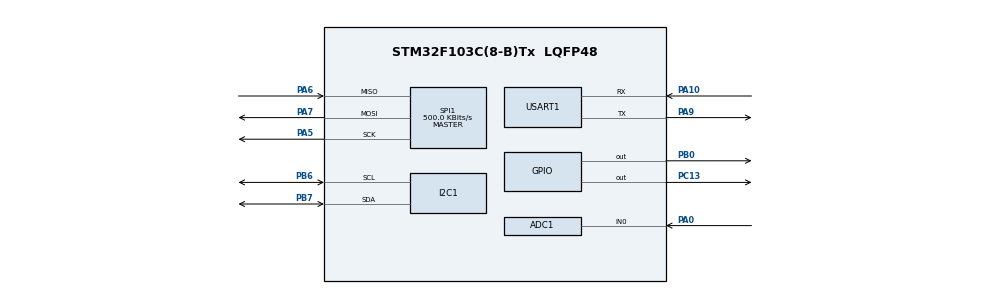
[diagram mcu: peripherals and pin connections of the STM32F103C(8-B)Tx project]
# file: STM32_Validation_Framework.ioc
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ADC1.Channel-0\#ChannelRegularConversion=ADC_CHANNEL_0
ADC1.NbrOfConversionFlag=1
ADC1.Rank-0\#ChannelRegularConversion=1
ADC1.SamplingTime-0\#ChannelRegularConversion=ADC_SAMPLETIME_1CYCLE_5
ADC1.master=1
Mcu.Family=STM32F1
Mcu.Name=STM32F103C(8-B)Tx
Mcu.Package=LQFP48
NVIC.PriorityGroup=NVIC_PRIORITYGROUP_4
PA0-WKUP.Signal=ADCx_IN0
PA10.Mode=Asynchronous
PA10.Signal=USART1_RX
PA5.Mode=Full_Duplex_Master
PA5.Signal=SPI1_SCK
PA6.Mode=Full_Duplex_Master
PA6.Signal=SPI1_MISO
PA7.Mode=Full_Duplex_Master
PA7.Signal=SPI1_MOSI
PA9.Mode=Asynchronous
PA9.Signal=USART1_TX
PB0.PinState=GPIO_PIN_SET
PB0.Signal=GPIO_Output
PB6.Mode=I2C
PB6.Signal=I2C1_SCL
PB7.Mode=I2C
PB7.Signal=I2C1_SDA
PC13-TAMPER-RTC.Signal=GPIO_Output
PD0-OSC_IN.Mode=HSE-External-Oscillator
PD0-OSC_IN.Signal=RCC_OSC_IN
PD1-OSC_OUT.Mode=HSE-External-Oscillator
PD1-OSC_OUT.Signal=RCC_OSC_OUT
ProjectManager.HeapSize=0x200
ProjectManager.StackSize=0x400
ProjectManager.TargetToolchain=STM32CubeIDE
RCC.APB1Freq_Value=8000000
RCC.APB2Freq_Value=8000000
SH.ADCx_IN0.0=ADC1_IN0,IN0
SPI1.BaudRatePrescaler=SPI_BAUDRATEPRESCALER_16
SPI1.CalculateBaudRate=500.0 KBits/s
SPI1.Direction=SPI_DIRECTION_2LINES
SPI1.Mode=SPI_MODE_MASTER
SPI1.VirtualType=VM_MASTER
USART1.VirtualMode=VM_ASYNC
VP_SYS_VS_ND.Mode=No_Debug
board=custom

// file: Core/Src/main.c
/* USER CODE BEGIN Header */
/**
  ******************************************************************************
  * @file           : main.c
  * @brief          : Main program body
  ******************************************************************************
  * @attention
  *
  * Copyright (c) 2026 STMicroelectronics.
  * All rights reserved.
  *
  * This software is licensed under terms that can be found in the LICENSE file
  * in the root directory of this software component.
  * If no LICENSE file comes with this software, it is provided AS-IS.
  *
  ******************************************************************************
  */
/* USER CODE END Header */
#include "main.h"

/* USER CODE BEGIN Includes */
#include <string.h>
#include <stdio.h>
/* USER CODE END Includes */

/* USER CODE BEGIN PD */
#define ADXL345_CS_GPIO_Port GPIOB
#define ADXL345_CS_Pin       GPIO_PIN_0
#define ADXL345_DEVICE_ID    0xE5
/* USER CODE END PD */

ADC_HandleTypeDef hadc1;

I2C_HandleTypeDef hi2c1;

SPI_HandleTypeDef hspi1;

UART_HandleTypeDef huart1;

/* USER CODE BEGIN PV */

static uint8_t uart_rx_buffer[32];
static uint8_t uart_rx_byte;
static uint8_t uart_rx_index = 0;

/* USER CODE END PV */

void SystemClock_Config(void);
static void MX_GPIO_Init(void);
static void MX_USART1_UART_Init(void);
static void MX_ADC1_Init(void);
static void MX_I2C1_Init(void);
static void MX_SPI1_Init(void);
/* USER CODE BEGIN PFP */

static void UART_SendString(const char *str);
static void Process_Command(char *command);
static void Test_UART(void);
static void Test_GPIO(void);
static void Test_ADC(void);
static void Test_I2C(void);
static void Test_SPI(void);

/* USER CODE END PFP */

/* USER CODE BEGIN 0 */

static void UART_SendString(const char *str)
{
    HAL_UART_Transmit(&huart1,
                      (uint8_t *)str,
                      strlen(str),
                      HAL_MAX_DELAY);
}

static void Test_UART(void)
{
    UART_SendString("[TEST:UART][RESULT:PASS]\r\n");
}

static void Test_GPIO(void)
{
    HAL_GPIO_TogglePin(GPIOC, GPIO_PIN_13);

    UART_SendString("[TEST:GPIO][RESULT:PASS]\r\n");
}

static void Process_Command(char *command)
{
    if (strcmp(command, "HELP") == 0)
    {
        UART_SendString("\r\n");
        UART_SendString("STM32 VALIDATION FRAMEWORK\r\n");
        UART_SendString("Commands:\r\n");
        UART_SendString("HELP\r\n");
        UART_SendString("TEST UART\r\n");
        UART_SendString("TEST GPIO\r\n");
        UART_SendString("TEST ADC\r\n");
        UART_SendString("TEST I2C\r\n");
        UART_SendString("TEST SPI\r\n");
        UART_SendString("TEST ALL\r\n");
        UART_SendString("\r\n");
    }
    else if (strcmp(command, "TEST UART") == 0)
    {
        Test_UART();
    }
    else if (strcmp(command, "TEST GPIO") == 0)
    {
        Test_GPIO();
    }
    else if (strcmp(command, "TEST ADC") == 0)
    {
        Test_ADC();
    }
    else if (strcmp(command, "TEST I2C") == 0)
    {
        Test_I2C();
    }
    else if (strcmp(command, "TEST SPI") == 0)
    {
        Test_SPI();
    }
    else if (strcmp(command, "TEST ALL") == 0)
    {
        Test_UART();
        Test_GPIO();
        Test_ADC();
        Test_I2C();
        Test_SPI();

        UART_SendString("[TEST:ALL][RESULT:PASS]\r\n");
    }
    else
    {
        UART_SendString("[ERROR][UNKNOWN_COMMAND]\r\n");
    }
}

/* USER CODE END 0 */

int main(void)
{

  /* MCU Configuration--------------------------------------------------------*/

  /* Reset of all peripherals, Initializes the Flash interface and the Systick. */
  HAL_Init();

  /* Configure the system clock */
  SystemClock_Config();

  /* Initialize all configured peripherals */
  MX_GPIO_Init();
  MX_USART1_UART_Init();
  MX_ADC1_Init();
  MX_I2C1_Init();
  MX_SPI1_Init();
  /* USER CODE BEGIN 2 */

  UART_SendString("\r\n====================================\r\n");
  UART_SendString("STM32 VALIDATION FRAMEWORK\r\n");
  UART_SendString("Firmware Core v0.3\r\n");
  UART_SendString("UART: 115200 8-N-1\r\n");
  UART_SendString("ADC: 12-bit / PA0\r\n");
  UART_SendString("Type HELP for commands\r\n");
  UART_SendString("====================================\r\n\r\n");

  /* USER CODE END 2 */

  /* Infinite loop */
  while (1)
  {

    /* USER CODE BEGIN 3 */

      if (HAL_UART_Receive(&huart1,
                           &uart_rx_byte,
                           1,
                           HAL_MAX_DELAY) == HAL_OK)
      {
          if (uart_rx_byte == '\r' || uart_rx_byte == '\n')
          {
              if (uart_rx_index > 0)
              {
                  uart_rx_buffer[uart_rx_index] = '\0';

                  Process_Command((char *)uart_rx_buffer);

                  uart_rx_index = 0;
                  memset(uart_rx_buffer, 0, sizeof(uart_rx_buffer));
              }
          }
          else
          {
              if (uart_rx_index < sizeof(uart_rx_buffer) - 1)
              {
                  uart_rx_buffer[uart_rx_index++] = uart_rx_byte;
              }
              else
              {
                  uart_rx_index = 0;
                  memset(uart_rx_buffer, 0, sizeof(uart_rx_buffer));

                  UART_SendString("[ERROR][COMMAND_TOO_LONG]\r\n");
              }
          }
      }
  }
  /* USER CODE END 3 */
}

void SystemClock_Config(void)
{
  RCC_OscInitTypeDef RCC_OscInitStruct = {0};
  RCC_ClkInitTypeDef RCC_ClkInitStruct = {0};
  RCC_PeriphCLKInitTypeDef PeriphClkInit = {0};

  /** Initializes the RCC Oscillators according to the specified parameters
  * in the RCC_OscInitTypeDef structure.
  */
  RCC_OscInitStruct.OscillatorType = RCC_OSCILLATORTYPE_HSI;
  RCC_OscInitStruct.HSIState = RCC_HSI_ON;
  RCC_OscInitStruct.HSICalibrationValue = RCC_HSICALIBRATION_DEFAULT;
  RCC_OscInitStruct.PLL.PLLState = RCC_PLL_NONE;
  if (HAL_RCC_OscConfig(&RCC_OscInitStruct) != HAL_OK)
  {
    Error_Handler();
  }

  /** Initializes the CPU, AHB and APB buses clocks
  */
  RCC_ClkInitStruct.ClockType = RCC_CLOCKTYPE_HCLK|RCC_CLOCKTYPE_SYSCLK
                              |RCC_CLOCKTYPE_PCLK1|RCC_CLOCKTYPE_PCLK2;
  RCC_ClkInitStruct.SYSCLKSource = RCC_SYSCLKSOURCE_HSI;
  RCC_ClkInitStruct.AHBCLKDivider = RCC_SYSCLK_DIV1;
  RCC_ClkInitStruct.APB1CLKDivider = RCC_HCLK_DIV1;
  RCC_ClkInitStruct.APB2CLKDivider = RCC_HCLK_DIV1;

  if (HAL_RCC_ClockConfig(&RCC_ClkInitStruct, FLASH_LATENCY_0) != HAL_OK)
  {
    Error_Handler();
  }
  PeriphClkInit.PeriphClockSelection = RCC_PERIPHCLK_ADC;
  PeriphClkInit.AdcClockSelection = RCC_ADCPCLK2_DIV2;
  if (HAL_RCCEx_PeriphCLKConfig(&PeriphClkInit) != HAL_OK)
  {
    Error_Handler();
  }
}

static void MX_ADC1_Init(void)
{

  ADC_ChannelConfTypeDef sConfig = {0};

  /** Common config
  */
  hadc1.Instance = ADC1;
  hadc1.Init.ScanConvMode = ADC_SCAN_DISABLE;
  hadc1.Init.ContinuousConvMode = DISABLE;
  hadc1.Init.DiscontinuousConvMode = DISABLE;
  hadc1.Init.ExternalTrigConv = ADC_SOFTWARE_START;
  hadc1.Init.DataAlign = ADC_DATAALIGN_RIGHT;
  hadc1.Init.NbrOfConversion = 1;
  if (HAL_ADC_Init(&hadc1) != HAL_OK)
  {
    Error_Handler();
  }

  /** Configure Regular Channel
  */
  sConfig.Channel = ADC_CHANNEL_0;
  sConfig.Rank = ADC_REGULAR_RANK_1;
  sConfig.SamplingTime = ADC_SAMPLETIME_1CYCLE_5;
  if (HAL_ADC_ConfigChannel(&hadc1, &sConfig) != HAL_OK)
  {
    Error_Handler();
  }

}

static void MX_I2C1_Init(void)
{

  hi2c1.Instance = I2C1;
  hi2c1.Init.ClockSpeed = 100000;
  hi2c1.Init.DutyCycle = I2C_DUTYCYCLE_2;
  hi2c1.Init.OwnAddress1 = 0;
  hi2c1.Init.AddressingMode = I2C_ADDRESSINGMODE_7BIT;
  hi2c1.Init.DualAddressMode = I2C_DUALADDRESS_DISABLE;
  hi2c1.Init.OwnAddress2 = 0;
  hi2c1.Init.GeneralCallMode = I2C_GENERALCALL_DISABLE;
  hi2c1.Init.NoStretchMode = I2C_NOSTRETCH_DISABLE;
  if (HAL_I2C_Init(&hi2c1) != HAL_OK)
  {
    Error_Handler();
  }

}

static void MX_SPI1_Init(void)
{

  /* SPI1 parameter configuration*/
  hspi1.Instance = SPI1;
  hspi1.Init.Mode = SPI_MODE_MASTER;
  hspi1.Init.Direction = SPI_DIRECTION_2LINES;
  hspi1.Init.DataSize = SPI_DATASIZE_8BIT;
  hspi1.Init.CLKPolarity = SPI_POLARITY_HIGH;
  hspi1.Init.CLKPhase = SPI_PHASE_2EDGE;
  hspi1.Init.NSS = SPI_NSS_SOFT;
  hspi1.Init.BaudRatePrescaler = SPI_BAUDRATEPRESCALER_16;
  hspi1.Init.FirstBit = SPI_FIRSTBIT_MSB;
  hspi1.Init.TIMode = SPI_TIMODE_DISABLE;
  hspi1.Init.CRCCalculation = SPI_CRCCALCULATION_DISABLE;
  hspi1.Init.CRCPolynomial = 10;
  if (HAL_SPI_Init(&hspi1) != HAL_OK)
  {
    Error_Handler();
  }

}

static void MX_USART1_UART_Init(void)
{

  huart1.Instance = USART1;
  huart1.Init.BaudRate = 115200;
  huart1.Init.WordLength = UART_WORDLENGTH_8B;
  huart1.Init.StopBits = UART_STOPBITS_1;
  huart1.Init.Parity = UART_PARITY_NONE;
  huart1.Init.Mode = UART_MODE_TX_RX;
  huart1.Init.HwFlowCtl = UART_HWCONTROL_NONE;
  huart1.Init.OverSampling = UART_OVERSAMPLING_16;
  if (HAL_UART_Init(&huart1) != HAL_OK)
  {
    Error_Handler();
  }

}

static void MX_GPIO_Init(void)
{
  GPIO_InitTypeDef GPIO_InitStruct = {0};

  /* GPIO Ports Clock Enable */
  __HAL_RCC_GPIOC_CLK_ENABLE();
  __HAL_RCC_GPIOD_CLK_ENABLE();
  __HAL_RCC_GPIOA_CLK_ENABLE();
  __HAL_RCC_GPIOB_CLK_ENABLE();

  /*Configure GPIO pin Output Level */
  HAL_GPIO_WritePin(GPIOC, GPIO_PIN_13, GPIO_PIN_RESET);

  /*Configure GPIO pin Output Level */
  HAL_GPIO_WritePin(GPIOB, GPIO_PIN_0, GPIO_PIN_SET);

  /*Configure GPIO pin : PC13 */
  GPIO_InitStruct.Pin = GPIO_PIN_13;
  GPIO_InitStruct.Mode = GPIO_MODE_OUTPUT_PP;
  GPIO_InitStruct.Pull = GPIO_NOPULL;
  GPIO_InitStruct.Speed = GPIO_SPEED_FREQ_LOW;
  HAL_GPIO_Init(GPIOC, &GPIO_InitStruct);

  /*Configure GPIO pin : PB0 */
  GPIO_InitStruct.Pin = GPIO_PIN_0;
  GPIO_InitStruct.Mode = GPIO_MODE_OUTPUT_PP;
  GPIO_InitStruct.Pull = GPIO_NOPULL;
  GPIO_InitStruct.Speed = GPIO_SPEED_FREQ_LOW;
  HAL_GPIO_Init(GPIOB, &GPIO_InitStruct);

}

/* USER CODE BEGIN 4 */
static void Test_SPI(void)
{
    uint8_t tx_data[2];
    uint8_t rx_data[2];
    uint8_t device_id;

    tx_data[0] = 0x80 | 0x00;   // Read command, register 0x00
    tx_data[1] = 0x00;

    HAL_GPIO_WritePin(ADXL345_CS_GPIO_Port,
                      ADXL345_CS_Pin,
                      GPIO_PIN_RESET);

    if (HAL_SPI_TransmitReceive(&hspi1,
                                tx_data,
                                rx_data,
                                2,
                                100) != HAL_OK)
    {
        HAL_GPIO_WritePin(ADXL345_CS_GPIO_Port,
                          ADXL345_CS_Pin,
                          GPIO_PIN_SET);

        UART_SendString("[TEST:SPI][RESULT:FAIL][HAL]\r\n");
        return;
    }

    HAL_GPIO_WritePin(ADXL345_CS_GPIO_Port,
                      ADXL345_CS_Pin,
                      GPIO_PIN_SET);

    device_id = rx_data[1];

    if (device_id == ADXL345_DEVICE_ID)
    {
        UART_SendString("[TEST:SPI][RESULT:PASS][DEVID:0xE5]\r\n");
    }
    else
    {
        char message[64];

        snprintf(message,
                 sizeof(message),
                 "[TEST:SPI][RESULT:FAIL][DEVID:0x%02X]\r\n",
                 device_id);

        UART_SendString(message);
    }
}

static void Test_ADC(void)
{
    uint32_t sum = 0;
    uint16_t min = 4095;
    uint16_t max = 0;
    uint16_t sample;
    uint32_t average;
    uint32_t voltage_mv;
    char message[96];

    for (uint8_t i = 0; i < 20; i++)
    {
        if (HAL_ADC_Start(&hadc1) != HAL_OK)
        {
            UART_SendString("[TEST:ADC][RESULT:FAIL]\r\n");
            return;
        }

        if (HAL_ADC_PollForConversion(&hadc1, 100) != HAL_OK)
        {
            HAL_ADC_Stop(&hadc1);
            UART_SendString("[TEST:ADC][RESULT:FAIL]\r\n");
            return;
        }

        sample = HAL_ADC_GetValue(&hadc1);

        HAL_ADC_Stop(&hadc1);

        sum += sample;

        if (sample < min)
        {
            min = sample;
        }

        if (sample > max)
        {
            max = sample;
        }

        HAL_Delay(5);
    }

    average = sum / 20;

    voltage_mv = (average * 3300UL) / 4095UL;

    UART_SendString("[TEST:ADC][RESULT:PASS]\r\n");

    snprintf(message,
             sizeof(message),
             "[ADC:AVG:%lu][MIN:%u][MAX:%u][MV:%lu]\r\n",
             average,
             min,
             max,
             voltage_mv);

    UART_SendString(message);
}

static void Test_I2C(void)
{
    HAL_StatusTypeDef status;

    status = HAL_I2C_IsDeviceReady(&hi2c1,
                                   (0x48 << 1),
                                   3,
                                   100);

    if (status == HAL_OK)
    {
        UART_SendString("[TEST:I2C][RESULT:PASS][ADDR:0x48]\r\n");
    }
    else
    {
        UART_SendString("[TEST:I2C][RESULT:FAIL][ADDR:0x48]\r\n");
    }
}

/* USER CODE END 4 */

void Error_Handler(void)
{
  __disable_irq();
  while (1)
  {
  }
}
